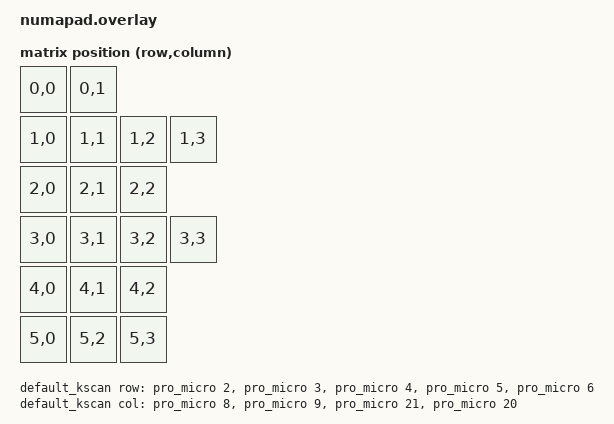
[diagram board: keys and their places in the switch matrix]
#include <dt-bindings/zmk/matrix_transform.h>
/ {
    chosen {
        zmk,physical-layout = &physical_layout0;
    };

    default_kscan: kscan {
        compatible = "zmk,kscan-gpio-matrix";
        diode-direction = "col2row";
        wakeup-source;

        col-gpios
            = <&pro_micro 8 GPIO_ACTIVE_HIGH>
            , <&pro_micro 9 GPIO_ACTIVE_HIGH>
            , <&pro_micro 21 GPIO_ACTIVE_HIGH>
            , <&pro_micro 20 GPIO_ACTIVE_HIGH>
            ;

        row-gpios
            = <&pro_micro 2 (GPIO_ACTIVE_HIGH | GPIO_PULL_DOWN)>
            , <&pro_micro 3 (GPIO_ACTIVE_HIGH | GPIO_PULL_DOWN)>
            , <&pro_micro 4 (GPIO_ACTIVE_HIGH | GPIO_PULL_DOWN)>
            , <&pro_micro 5 (GPIO_ACTIVE_HIGH | GPIO_PULL_DOWN)>
            , <&pro_micro 6 (GPIO_ACTIVE_HIGH | GPIO_PULL_DOWN)>
            ;
    };

    default_transform: matrix_transform {
        compatible = "zmk,matrix-transform";
        columns = <4>; // Length of the "col-gpios" array
        rows = <6>; // Length of the "row-gpios" array
        map = <
        //   Key 1 | Key 2 
            RC(0,0) RC(0,1) 
        //   Key 3 | Key 4 | Key 5 | Key 6
            RC(1,0) RC(1,1) RC(1,2) RC(1,3)
        //   Key 7 | Key 8 | Key 9 
            RC(2,0) RC(2,1) RC(2,2) 
        //   Key 10| Key 11| Key 12| Key 13
            RC(3,0) RC(3,1) RC(3,2) RC(3,3)
        //   Key 14| Key 15| Key 16| Key 17
            RC(4,0) RC(4,1) RC(4,2)
        //   Key 18| Key 19| Key 20
            RC(5,0) RC(5,2) RC(5,3)
        >;
    };

    physical_layout0: physical_layout_ { // First physical layout, use different naming for other layouts
        compatible = "zmk,physical-layout";
        display-name = "Default Layout";
        kscan = <&default_kscan>; // Label of the kscan node, optional if all layouts use the same
        transform = <&default_transform>; // Label of the matrix transform for this layout
    };
};
